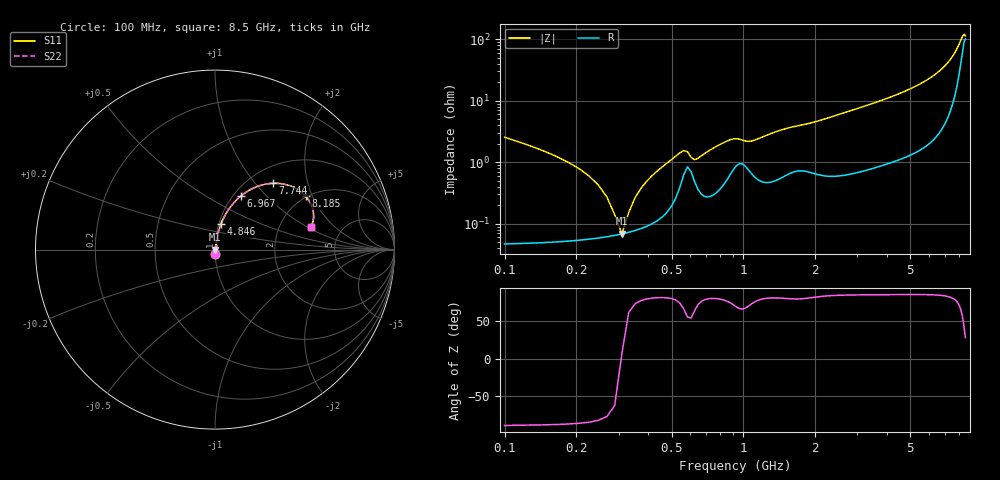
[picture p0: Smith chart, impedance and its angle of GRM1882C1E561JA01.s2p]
!Murata Part Number: GRM1882C1E561JA01
!These Parameters are Measured in Series Mode Connection
!Data Generated on Mar 30, 2021
!  o--ll--o
!Port1  Port2
!  o------o
!Operation Temp=25[degC], DC Bias Voltage=0[V]
!Freq. Start=100[MHz] Stop=9[GHz] 401[Steps]
# Hz S RI R 50
!Freq.(Hz) S11(Real) S11(Imag) S21(Real) S21(Imag) S12(Real) S12(Imag) S22(Real) S22(Imag)
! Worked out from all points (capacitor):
!   401 points, 100 MHz to 8.5 GHz, reference 50 ohm
!   read as one part in series: C = 556 pF near 142 MHz
!   lowest |Z| = 69 mohm at 310 MHz (marker M1)
!   series resonance near 308.6 MHz, so ESL is about 480 pH
!   S11 on the Smith chart (normalised r, x): 100 MHz: 1.00, -0.05; 4.846 GHz: 1.02, +0.29; 6.967 GHz: 1.08, +0.73; 7.744 GHz: 1.28, +1.25; 8.185 GHz: 1.96, +1.78; 8.5 GHz: 3.00, +1.06
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1e8  0.00112 -0.0255  0.9989 0.0255  0.9989 0.0255  0.00112 -0.0255
1.84e8  0.000623 -0.01  0.9994 0.01  0.9994 0.01  0.000623 -0.01
2.26e8  0.000597 -0.00592  0.9994 0.00592  0.9994 0.00592  0.000597 -0.00592
2.68e8  0.000622 -0.00267  0.9994 0.00267  0.9994 0.00267  0.000622 -0.00267
3.1e8  0.000684 8.68e-05  0.9993 -8.68e-05  0.9993 -8.68e-05  0.000684 8.68e-05
3.52e8  0.000783 0.00255  0.9992 -0.00255  0.9992 -0.00255  0.000783 0.00255
3.73e8  0.00085 0.00371  0.9991 -0.00371  0.9991 -0.00371  0.00085 0.00371
4.15e8  0.00104 0.00598  0.999 -0.00598  0.999 -0.00598  0.00104 0.00598
5.41e8  0.00402 0.0135  0.996 -0.0135  0.996 -0.0135  0.00402 0.0135
6.46e8  0.00369 0.011  0.9963 -0.011  0.9963 -0.011  0.00369 0.011
8.77e8  0.00658 0.0219  0.9934 -0.0219  0.9934 -0.0219  0.00658 0.0219
1.087e9  0.00677 0.021  0.9932 -0.021  0.9932 -0.021  0.00677 0.021
1.507e9  0.00725 0.0343  0.9928 -0.0343  0.9928 -0.0343  0.00725 0.0343
2.914e9  0.0116 0.0703  0.9884 -0.0703  0.9884 -0.0703  0.0116 0.0703
4.3e9  0.0243 0.1171  0.9757 -0.1171  0.9757 -0.1171  0.0243 0.1171
4.846e9  0.0326 0.1407  0.9674 -0.1407  0.9674 -0.1407  0.0326 0.1407
5.707e9  0.0547 0.1888  0.9453 -0.1888  0.9453 -0.1888  0.0547 0.1888
6.967e9  0.1446 0.2992  0.8554 -0.2992  0.8554 -0.2992  0.1446 0.2992
7.114e9  0.1663 0.3155  0.8337 -0.3155  0.8337 -0.3155  0.1663 0.3155
7.744e9  0.324 0.3694  0.676 -0.3694  0.676 -0.3694  0.324 0.3694
8.185e9  0.5045 0.2982  0.4955 -0.2982  0.4955 -0.2982  0.5045 0.2982
8.5e9  0.5333 0.124  0.4667 -0.124  0.4667 -0.124  0.5333 0.124
